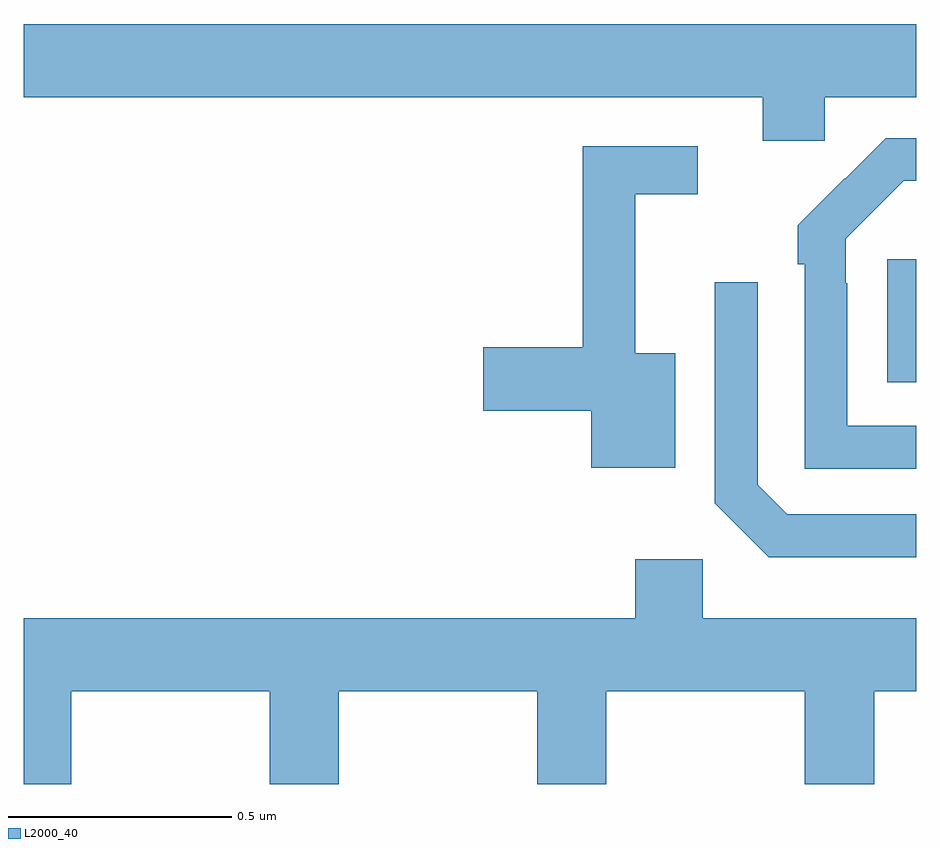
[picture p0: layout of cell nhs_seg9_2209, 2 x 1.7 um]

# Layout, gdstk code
import gdstk
lib = gdstk.Library(unit=1e-6, precision=1e-09)
def R(c, l, rs):  # rectangles x0, y0, x1, y1
    for r in rs: c.add(gdstk.rectangle(r[:2], r[2:], *l))
def P(c, l, *ps):  # polygons
    for p in ps: c.add(gdstk.Polygon(p, *l))
L2000_40 = (2000, 40)

nhs_seg9_2209 = lib.new_cell('nhs_seg9_2209')
R(nhs_seg9_2209, L2000_40, [(138.935,1242.401,139,1242.676)])
P(nhs_seg9_2209, L2000_40, [(138.795,1243.04),(139,1243.04),(139,1243.204),(137,1243.204),(137,1243.04),(138.656,1243.04),(138.656,1242.942),(138.795,1242.942)],
  [(139,1242.303),(138.846,1242.303),(138.846,1242.623),(138.843,1242.623),(138.843,1242.723),(138.972,1242.852),(139,1242.852),(139,1242.948),(138.932,1242.948),(138.841,1242.857),(138.84,1242.858),(138.735,1242.753),(138.735,1242.665),(138.75,1242.665),(138.75,1242.207),(139,1242.207)],
  [(138.46,1242.466),(138.371,1242.466),(138.371,1242.822),(138.511,1242.822),(138.511,1242.93),(138.253,1242.93),(138.253,1242.479),(138.03,1242.479),(138.03,1242.337),(138.272,1242.337),(138.272,1242.209),(138.46,1242.209)],
  [(139,1242.105),(138.711,1242.105),(138.645,1242.171),(138.645,1242.625),(138.549,1242.625),(138.549,1242.129),(138.67,1242.008),(139,1242.008)],
  [(137.106,1241.708),(137.551,1241.708),(137.551,1241.5),(137.706,1241.5),(137.706,1241.708),(138.151,1241.708),(138.151,1241.5),(138.306,1241.5),(138.306,1241.708),(138.751,1241.708),(138.751,1241.5),(138.906,1241.5),(138.906,1241.708),(139,1241.708),(139,1241.872),(138.522,1241.872),(138.522,1242.004),(138.371,1242.004),(138.371,1241.872),(137,1241.872),(137,1241.5),(137.106,1241.5)])

lib.write_gds('nhs_seg9_2209.gds')
